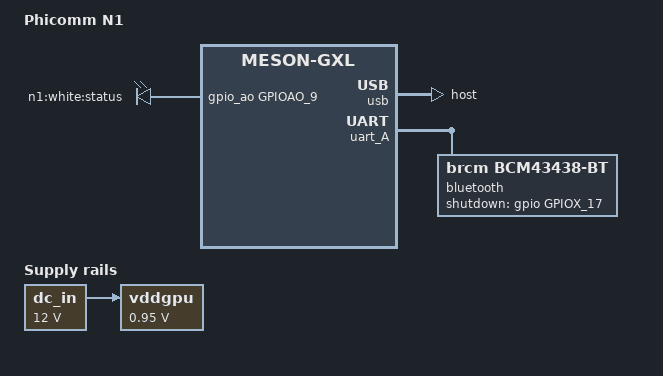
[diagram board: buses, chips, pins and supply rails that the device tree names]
// SPDX-License-Identifier: (GPL-2.0+ OR MIT)
/*
 * Copyright (c) 2018 He Yangxuan
 */

/dts-v1/;

#include "meson-gxl-s905d-p230.dts"

/ {
	compatible = "phicomm,n1", "amlogic,s905d", "amlogic,meson-gxl";
	model = "Phicomm N1";

	cvbs-connector {
		status = "disabled";
	};

	leds {
		compatible = "gpio-leds";

		led {
			label = "n1:white:status";
			gpios = <&gpio_ao GPIOAO_9 GPIO_ACTIVE_HIGH>;
			default-state = "on";
		};
	};

        dc_in: regulator-vcc_12v {
                compatible = "regulator-fixed";
                regulator-name = "VCC_12V";
                regulator-min-microvolt = <12000000>;
                regulator-max-microvolt = <12000000>;
                regulator-boot-on;
                regulator-always-on;
        };

        vddgpu: regulator-vddgpu {
                compatible = "regulator-fixed";
                regulator-name = "mali";
                regulator-min-microvolt = <950000>;
                regulator-max-microvolt = <950000>;
                vin-supply = <&dc_in>;
                regulator-boot-on;
                regulator-always-on;
        };
};

&cvbs_vdac_port {
	status = "disabled";
};

&usb {
	dr_mode = "host";
};

&sd_emmc_a {
	/delete-property/ sd-uhs-sdr104;
	sd-uhs-sdr50;
	max-frequency = <100000000>;
};

&sd_emmc_b {
       status = "disabled";
};

&ethmac {
       snps,aal;
       snps,txpbl = <0x8>;
       snps,rxpbl = <0x8>;
};

&uart_A {
	status = "okay";
	pinctrl-0 = <&uart_a_pins>, <&uart_a_cts_rts_pins>;
	pinctrl-names = "default";
	uart-has-rtscts;

	bluetooth {
		compatible = "brcm,bcm43438-bt";
		shutdown-gpios = <&gpio GPIOX_17 GPIO_ACTIVE_HIGH>;
		max-speed = <2000000>;
		clocks = <&wifi32k>;
		clock-names = "lpo";
	};
};
